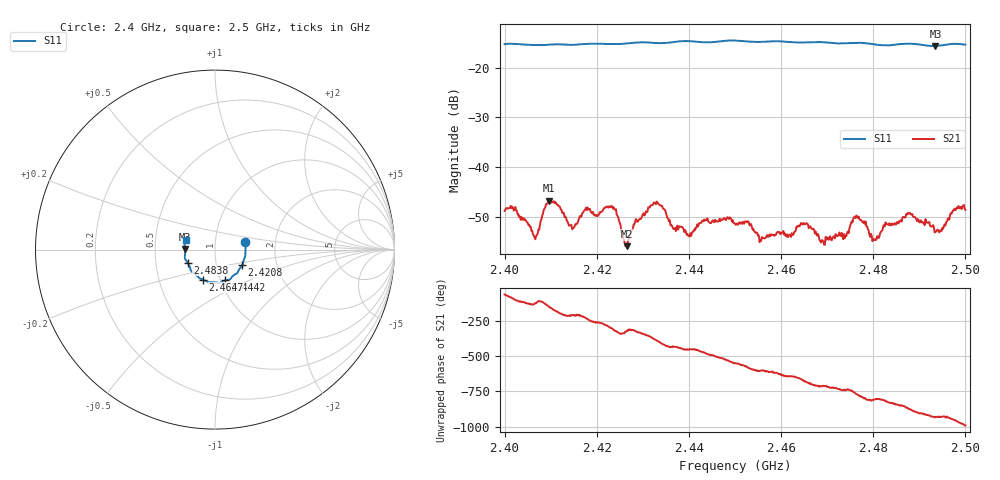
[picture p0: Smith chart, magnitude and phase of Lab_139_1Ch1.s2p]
# Hz S RI R 50
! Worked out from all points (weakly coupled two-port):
!   601 points, 2.4 GHz to 2.5 GHz, reference 50 ohm
!   highest |S21| = -46.77 dB at 2.4097 GHz (marker M1); lowest = -55.9 dB at 2.4265 GHz (marker M2)
!   lowest |S11| = -15.6 dB at 2.4935 GHz (marker M3), VSWR 1.40, Z = 35.8 + j0.205 ohm
!   |S11| at or under -10 dB: start of sweep to end of sweep
!   S12 and S22 are empty: the file has one direction only
!   S11 on the Smith chart (normalised r, x): 2.4 GHz: 1.40, +0.12; 2.4208 GHz: 1.33, -0.24; 2.4442 GHz: 1.05, -0.37; 2.4647 GHz: 0.83, -0.29; 2.4838 GHz: 0.73, -0.11; 2.5 GHz: 0.72, +0.08
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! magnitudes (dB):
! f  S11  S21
! 2.4 GHz  -15.2  -48.8
! 2.4067 GHz  -15.4  -54.5
! 2.4097 GHz  -15.3  -46.8
! 2.4145 GHz  -15.4  -51.7
! 2.4167 GHz  -15.3  -49.9
! 2.4208 GHz  -15.2  -49.1
! 2.4237 GHz  -15.2  -48.1
! 2.4265 GHz  -15.1  -55.9
! 2.4333 GHz  -15.0  -47.4
! 2.44 GHz  -14.6  -53.9
! 2.4442 GHz  -14.9  -50.9
! 2.45 GHz  -14.5  -51.4
! 2.4558 GHz  -14.8  -54.1
! 2.4647 GHz  -14.9  -51.6
! 2.4667 GHz  -14.8  -52.4
! 2.469 GHz  -14.8  -54.7
! 2.4763 GHz  -15.0  -49.7
! 2.4802 GHz  -15.3  -54.7
! 2.4833 GHz  -15.5  -51.6
! 2.4838 GHz  -15.4  -51.6
! 2.4935 GHz  -15.6  -53.1
! 2.5 GHz  -15.3  -48.6
